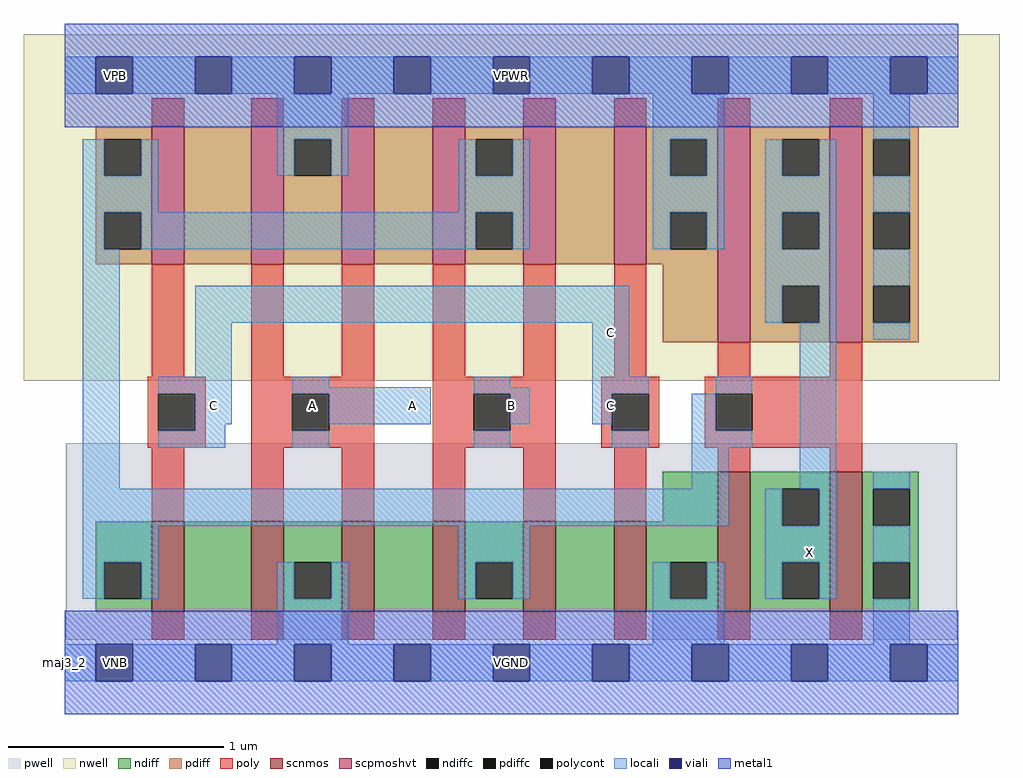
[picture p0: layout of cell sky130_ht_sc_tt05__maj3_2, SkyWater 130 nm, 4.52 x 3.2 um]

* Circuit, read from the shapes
.subckt sky130_ht_sc_tt05__maj3_2 A B C VGND VNB VPB VPWR X
XM1 n1 C n2 VNB sky130_fd_pr__nfet_01v8 w=0.42 l=0.15
XM2 VGND A n1 VNB sky130_fd_pr__nfet_01v8 w=0.42 l=0.15
XM3 n3 A VGND VNB sky130_fd_pr__nfet_01v8 w=0.42 l=0.15
XM4 n2 B n3 VNB sky130_fd_pr__nfet_01v8 w=0.42 l=0.15
XM5 n4 B n2 VNB sky130_fd_pr__nfet_01v8 w=0.42 l=0.15
XM6 VGND C n4 VNB sky130_fd_pr__nfet_01v8 w=0.42 l=0.15
XM7 X n2 VGND VNB sky130_fd_pr__nfet_01v8 w=0.65 l=0.15 m=2
XM8 n5 C n2 VPB sky130_fd_pr__pfet_01v8_hvt w=0.64 l=0.15
XM9 VPWR A n5 VPB sky130_fd_pr__pfet_01v8_hvt w=0.64 l=0.15
XM10 n6 A VPWR VPB sky130_fd_pr__pfet_01v8_hvt w=0.64 l=0.15
XM11 n2 B n6 VPB sky130_fd_pr__pfet_01v8_hvt w=0.64 l=0.15
XM12 n7 B n2 VPB sky130_fd_pr__pfet_01v8_hvt w=0.64 l=0.15
XM13 VPWR C n7 VPB sky130_fd_pr__pfet_01v8_hvt w=0.64 l=0.15
XM14 X n2 VPWR VPB sky130_fd_pr__pfet_01v8_hvt w=1 l=0.15 m=2
.ends

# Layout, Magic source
magic
tech sky130A
magscale 1 2
<< nwell >>
rect -38 261 866 582
<< pwell >>
rect 1 21 827 203
rect 29 -17 63 21
<< scnmos >>
rect 605 47 635 177
rect 709 47 739 177
rect 509 47 539 131
rect 425 47 455 131
rect 341 47 371 131
rect 257 47 287 131
rect 173 47 203 131
rect 81 47 111 131
<< scpmoshvt >>
rect 81 369 111 497
rect 173 369 203 497
rect 257 369 287 497
rect 341 369 371 497
rect 425 369 455 497
rect 509 369 539 497
rect 605 297 635 497
rect 709 297 739 497
<< ndiff >>
rect 739 47 791 59
rect 739 59 749 93
rect 783 59 791 93
rect 739 93 791 127
rect 739 127 749 161
rect 783 127 791 161
rect 739 161 791 177
rect 539 47 605 59
rect 539 59 561 93
rect 595 59 605 93
rect 539 93 605 131
rect 554 131 605 177
rect 635 47 709 59
rect 635 59 665 93
rect 699 59 709 93
rect 635 93 709 127
rect 635 127 665 161
rect 699 127 709 161
rect 635 161 709 177
rect 111 47 173 131
rect 29 47 81 59
rect 29 59 37 93
rect 71 59 81 93
rect 29 93 81 131
rect 203 47 257 59
rect 203 59 213 93
rect 247 59 257 93
rect 203 93 257 131
rect 287 47 341 131
rect 371 47 425 59
rect 371 59 381 93
rect 415 59 425 93
rect 371 93 425 131
rect 455 47 509 131
<< pdiff >>
rect 635 297 709 315
rect 635 315 665 349
rect 699 315 709 349
rect 635 349 709 383
rect 635 383 665 417
rect 699 383 709 417
rect 635 417 709 451
rect 635 451 665 485
rect 699 451 709 485
rect 635 485 709 497
rect 554 297 605 369
rect 539 369 605 383
rect 539 383 561 417
rect 595 383 605 417
rect 539 417 605 451
rect 539 451 561 485
rect 595 451 605 485
rect 539 485 605 497
rect 455 369 509 497
rect 371 369 425 383
rect 371 383 381 417
rect 415 383 425 417
rect 371 417 425 451
rect 371 451 381 485
rect 415 451 425 485
rect 371 485 425 497
rect 287 369 341 497
rect 203 369 257 451
rect 203 451 213 485
rect 247 451 257 485
rect 203 485 257 497
rect 111 369 173 497
rect 29 369 81 383
rect 29 383 37 417
rect 71 383 81 417
rect 29 417 81 451
rect 29 451 37 485
rect 71 451 81 485
rect 29 485 81 497
rect 739 297 791 315
rect 739 315 749 349
rect 783 315 791 349
rect 739 349 791 383
rect 739 383 749 417
rect 783 383 791 417
rect 739 417 791 451
rect 739 451 749 485
rect 783 451 791 485
rect 739 485 791 497
<< ndiffc >>
rect 749 127 783 161
rect 665 127 699 161
rect 37 59 71 93
rect 665 59 699 93
rect 381 59 415 93
rect 749 59 783 93
rect 213 59 247 93
rect 561 59 595 93
<< pdiffc >>
rect 749 451 783 485
rect 381 451 415 485
rect 665 451 699 485
rect 213 451 247 485
rect 561 451 595 485
rect 37 451 71 485
rect 749 383 783 417
rect 381 383 415 417
rect 561 383 595 417
rect 37 383 71 417
rect 665 383 699 417
rect 749 315 783 349
rect 665 315 699 349
<< poly >>
rect 509 497 539 523
rect 425 497 455 523
rect 341 497 371 523
rect 81 497 111 523
rect 257 497 287 523
rect 173 497 203 523
rect 709 497 739 523
rect 605 497 635 523
rect 173 131 203 199
rect 257 131 287 199
rect 173 199 287 215
rect 173 215 211 249
rect 245 215 287 249
rect 173 249 287 265
rect 173 265 203 369
rect 257 265 287 369
rect 509 131 539 199
rect 497 199 551 215
rect 497 215 507 249
rect 541 215 551 249
rect 497 249 551 265
rect 509 265 539 369
rect 341 131 371 199
rect 425 131 455 199
rect 341 199 455 215
rect 341 215 379 249
rect 413 215 455 249
rect 341 249 455 265
rect 341 265 371 369
rect 425 265 455 369
rect 81 131 111 199
rect 77 199 131 215
rect 77 215 87 249
rect 121 215 131 249
rect 77 249 131 265
rect 81 265 111 369
rect 605 177 635 199
rect 709 177 739 199
rect 593 199 739 215
rect 593 215 603 249
rect 637 215 739 249
rect 593 249 739 265
rect 605 265 635 297
rect 709 265 739 297
rect 173 21 203 47
rect 81 21 111 47
rect 257 21 287 47
rect 341 21 371 47
rect 425 21 455 47
rect 509 21 539 47
rect 605 21 635 47
rect 709 21 739 47
<< polycont >>
rect 507 215 541 249
rect 87 215 121 249
rect 211 215 245 249
rect 379 215 413 249
rect 603 215 637 249
<< locali >>
rect 197 451 213 485
rect 247 451 263 485
rect 197 485 263 527
rect 155 527 213 561
rect 247 527 305 561
rect 799 527 828 561
rect 17 59 37 93
rect 71 59 87 93
rect 365 59 381 93
rect 415 59 431 93
rect 17 93 87 127
rect 365 93 431 127
rect 17 127 615 161
rect 17 161 51 199
rect 581 161 615 199
rect 17 199 51 215
rect 581 199 637 215
rect 17 215 51 249
rect 581 215 603 249
rect 17 249 51 265
rect 603 249 637 265
rect 17 265 51 383
rect 17 383 37 417
rect 71 383 381 417
rect 415 383 431 417
rect 17 417 87 451
rect 365 417 431 451
rect 17 451 37 485
rect 71 451 87 485
rect 365 451 381 485
rect 415 451 431 485
rect 649 59 665 93
rect 699 59 715 93
rect 649 93 715 127
rect 649 127 665 161
rect 699 127 715 161
rect 681 161 715 315
rect 649 315 665 349
rect 699 315 715 349
rect 649 349 715 383
rect 649 383 665 417
rect 699 383 715 417
rect 649 417 715 451
rect 649 451 665 485
rect 699 451 715 485
rect 749 417 783 451
rect 749 349 783 383
rect 87 199 149 215
rect 121 215 149 221
rect 121 221 155 249
rect 489 221 507 249
rect 87 249 155 265
rect 489 249 541 265
rect 121 265 155 315
rect 489 265 523 315
rect 121 315 523 349
rect 749 299 783 315
rect 413 221 431 249
rect 379 249 431 255
rect 379 255 413 265
rect 245 221 339 249
rect 211 249 339 255
rect 211 255 245 265
rect 379 199 413 215
rect 507 199 541 215
rect 211 199 245 215
rect 749 161 783 177
rect 749 93 783 127
rect 799 -17 828 17
rect 63 527 121 561
rect 0 527 29 561
rect 749 485 783 527
rect 707 527 765 561
rect 615 527 673 561
rect 545 383 561 417
rect 595 383 611 417
rect 545 417 611 451
rect 545 451 561 485
rect 595 451 611 485
rect 545 485 611 527
rect 523 527 581 561
rect 431 527 489 561
rect 339 527 397 561
rect 707 -17 765 17
rect 749 17 783 59
rect 523 -17 581 17
rect 615 -17 673 17
rect 545 17 611 59
rect 545 59 561 93
rect 595 59 611 93
rect 431 -17 489 17
rect 155 -17 213 17
rect 247 -17 305 17
rect 339 -17 397 17
rect 197 17 263 59
rect 197 59 213 93
rect 247 59 263 93
rect 0 -17 29 17
rect 63 -17 121 17
<< viali >>
rect 305 527 339 561
rect 765 527 799 561
rect 213 527 247 561
rect 673 527 707 561
rect 121 527 155 561
rect 581 527 615 561
rect 29 527 63 561
rect 489 527 523 561
rect 397 527 431 561
rect 121 -17 155 17
rect 765 -17 799 17
rect 397 -17 431 17
rect 29 -17 63 17
rect 673 -17 707 17
rect 305 -17 339 17
rect 581 -17 615 17
rect 213 -17 247 17
rect 489 -17 523 17
<< metal1 >>
rect 0 496 828 527
rect 0 527 29 561
rect 63 527 121 561
rect 155 527 213 561
rect 247 527 305 561
rect 339 527 397 561
rect 431 527 489 561
rect 523 527 581 561
rect 615 527 673 561
rect 707 527 765 561
rect 799 527 828 561
rect 0 561 828 592
rect 0 -48 828 -17
rect 0 -17 29 17
rect 63 -17 121 17
rect 155 -17 213 17
rect 247 -17 305 17
rect 339 -17 397 17
rect 431 -17 489 17
rect 523 -17 581 17
rect 615 -17 673 17
rect 707 -17 765 17
rect 799 -17 828 17
rect 0 17 828 48
<< labels >>
flabel locali s 213 221 247 255 0 FreeSans 200 0 0 0 A
port 1 nsew signal input
flabel locali s 305 221 339 255 0 FreeSans 200 0 0 0 A
port 1 nsew signal input
flabel locali s 397 221 431 255 0 FreeSans 200 0 0 0 B
port 2 nsew signal input
flabel locali s 121 221 155 255 0 FreeSans 200 0 0 0 C
port 3 nsew signal input
flabel locali s 489 221 523 255 0 FreeSans 200 0 0 0 C
port 3 nsew signal input
flabel locali s 489 289 523 323 0 FreeSans 200 0 0 0 C
port 3 nsew signal input
flabel locali s 673 85 707 119 0 FreeSans 200 0 0 0 X
port 8 nsew signal output
flabel pwell s 30 -17 64 17 0 FreeSans 200 0 0 0 VNB
port 5 nsew ground bidirectional
flabel nwell s 30 527 64 561 0 FreeSans 200 0 0 0 VPB
port 6 nsew power bidirectional
flabel metal1 s 30 -17 64 17 0 FreeSans 200 0 0 0 VGND
port 4 nsew ground bidirectional abutment
flabel metal1 s 30 527 64 561 0 FreeSans 200 0 0 0 VPWR
port 7 nsew power bidirectional abutment
rlabel metal1 s 0 -48 828 48 1 VGND
port 4 nsew ground bidirectional abutment
rlabel metal1 s 0 496 828 592 1 VPWR
port 7 nsew power bidirectional abutment
rlabel comment s 0 0 0 0 4 maj3_2
<< properties >>
string FIXED_BBOX 0 0 828 544
string GDS_FILE $PDKPATH/libs.ref/sky130_fd_sc_hd/gds/sky130_ht_sc_tt05.gds
string GDS_START 7312
string GDS_END 13216
string LEFclass CORE
string LEFsite unithd
string LEFsymmetry X Y R90
<< end >>
